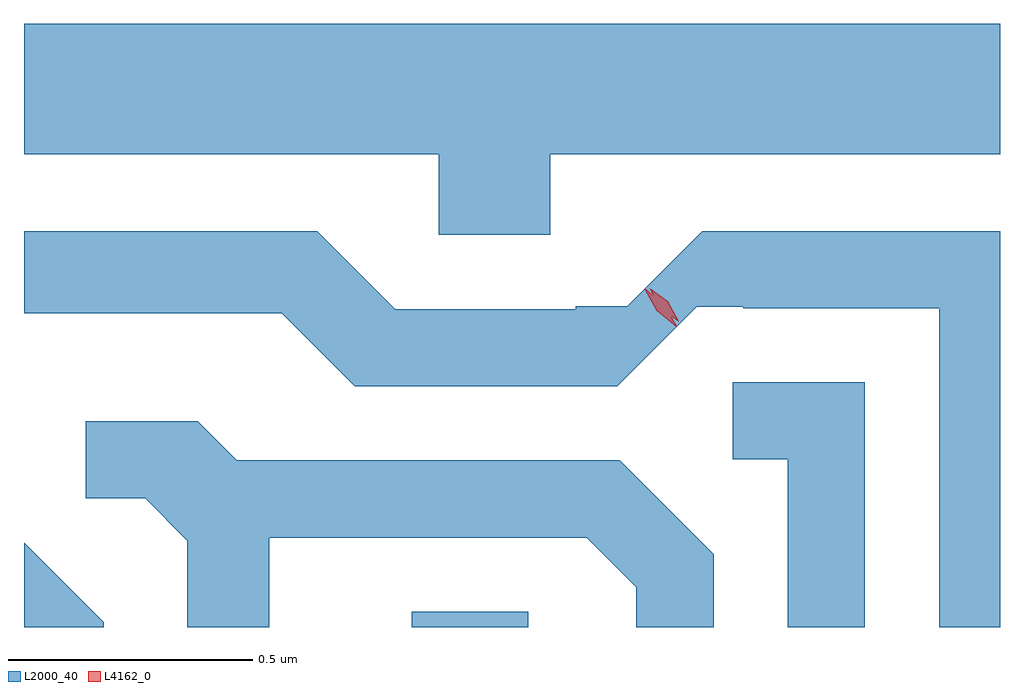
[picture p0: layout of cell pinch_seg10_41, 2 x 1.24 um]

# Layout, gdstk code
import gdstk
lib = gdstk.Library(unit=1e-6, precision=1e-09)
def R(c, l, rs):  # rectangles x0, y0, x1, y1
    for r in rs: c.add(gdstk.rectangle(r[:2], r[2:], *l))
def P(c, l, *ps):  # polygons
    for p in ps: c.add(gdstk.Polygon(p, *l))
L2000_40 = (2000, 40)
L4162_0 = (4162, 0)

pinch_seg10_41 = lib.new_cell('pinch_seg10_41')
R(pinch_seg10_41, L2000_40, [(599.481,2206.187,599.719,2206.219)])
P(pinch_seg10_41, L2000_40, [(599.764,2207.156),(600.686,2207.156),(600.686,2207.424),(598.686,2207.424),(598.686,2207.156),(599.536,2207.156),(599.536,2206.991),(599.764,2206.991)],
  [(600.686,2206.999),(600.076,2206.999),(599.922,2206.845),(599.817,2206.845),(599.817,2206.839),(599.447,2206.839),(599.287,2206.999),(598.686,2206.999),(598.686,2206.831),(599.214,2206.831),(599.364,2206.681),(599.902,2206.681),(600.065,2206.844),(600.16,2206.844),(600.16,2206.841),(600.561,2206.841),(600.561,2206.187),(600.686,2206.187)],
  [(600.409,2206.689),(600.138,2206.689),(600.138,2206.531),(600.251,2206.531),(600.251,2206.187),(600.409,2206.187)],
  [(599.189,2206.371),(599.839,2206.371),(599.941,2206.269),(599.941,2206.187),(600.099,2206.187),(600.099,2206.337),(599.907,2206.529),(599.122,2206.529),(599.042,2206.609),(598.813,2206.609),(598.813,2206.451),(598.934,2206.451),(599.021,2206.364),(599.021,2206.187),(599.189,2206.187)],
  [(598.849,2206.197),(598.686,2206.36),(598.686,2206.187),(598.849,2206.187)])
P(pinch_seg10_41, L4162_0, [(600.023,2206.803),(599.983,2206.836),(599.958,2206.88),(599.958,2206.881),(599.959,2206.881),(599.998,2206.848),(600.024,2206.804),(600.024,2206.803)],
  [(600.027,2206.814),(599.99,2206.841),(599.968,2206.882),(599.968,2206.882),(599.968,2206.882),(600.005,2206.855),(600.028,2206.814),(600.028,2206.814)])

lib.write_gds('pinch_seg10_41.gds')
